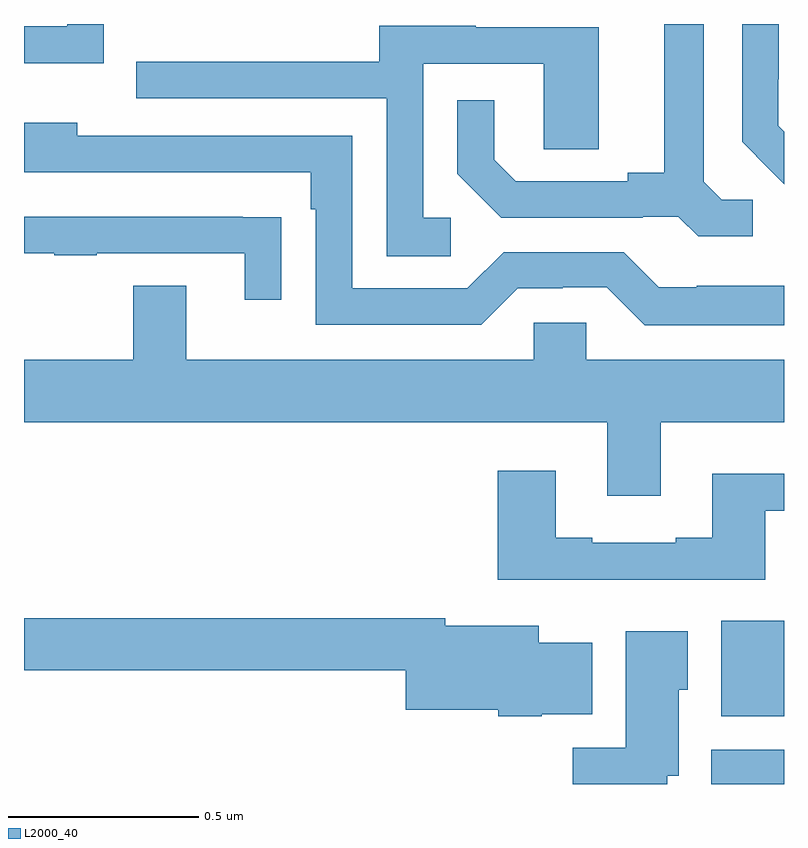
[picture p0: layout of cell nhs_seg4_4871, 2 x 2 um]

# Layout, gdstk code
import gdstk
lib = gdstk.Library(unit=1e-6, precision=1e-09)
def R(c, l, rs):  # rectangles x0, y0, x1, y1
    for r in rs: c.add(gdstk.rectangle(r[:2], r[2:], *l))
def P(c, l, *ps):  # polygons
    for p in ps: c.add(gdstk.Polygon(p, *l))
L2000_40 = (2000, 40)

nhs_seg4_4871 = lib.new_cell('nhs_seg4_4871')
R(nhs_seg4_4871, L2000_40, [(172.808,763.9,173,763.99), (172.835,764.078,173,764.329)])
P(nhs_seg4_4871, L2000_40, [(173,765.617),(172.985,765.632),(172.985,765.754),(172.986,765.754),(172.986,765.9),(172.89,765.9),(172.89,765.59),(172.963,765.517),(172.962,765.516),(173,765.478)],
  [(172.918,765.438),(172.836,765.438),(172.789,765.485),(172.789,765.9),(172.685,765.9),(172.685,765.509),(172.589,765.509),(172.589,765.486),(172.294,765.486),(172.237,765.543),(172.237,765.7),(172.14,765.7),(172.14,765.506),(172.256,765.39),(172.628,765.39),(172.628,765.393),(172.722,765.393),(172.774,765.341),(172.918,765.341)],
  [(171.21,765.9),(171.114,765.9),(171.114,765.894),(171,765.894),(171,765.797),(171.21,765.797)],
  [(172.123,765.39),(172.05,765.39),(172.05,765.795),(172.368,765.795),(172.368,765.571),(172.513,765.571),(172.513,765.891),(172.189,765.891),(172.189,765.895),(171.935,765.895),(171.935,765.801),(171.295,765.801),(171.295,765.705),(171.954,765.705),(171.954,765.289),(172.123,765.289)],
  [(173,765.211),(172.771,765.211),(172.771,765.207),(172.671,765.207),(172.578,765.3),(172.263,765.3),(172.167,765.204),(171.864,765.204),(171.864,765.606),(171.14,765.606),(171.14,765.64),(171,765.64),(171,765.51),(171.755,765.51),(171.755,765.413),(171.768,765.413),(171.768,765.108),(172.203,765.108),(172.299,765.204),(172.418,765.204),(172.418,765.207),(172.533,765.207),(172.633,765.107),(173,765.107)],
  [(171.677,765.392),(171.575,765.392),(171.575,765.393),(171,765.393),(171,765.297),(171.079,765.297),(171.079,765.292),(171.191,765.292),(171.191,765.297),(171.581,765.297),(171.581,765.174),(171.677,765.174)],
  [(172.675,764.852),(173,764.852),(173,765.016),(172.479,765.016),(172.479,765.114),(172.341,765.114),(172.341,765.016),(171.427,765.016),(171.427,765.211),(171.287,765.211),(171.287,765.016),(171,765.016),(171,764.852),(172.535,764.852),(172.535,764.658),(172.675,764.658)],
  [(172.951,764.619),(173,764.619),(173,764.716),(172.811,764.716),(172.811,764.548),(172.715,764.548),(172.715,764.535),(172.495,764.535),(172.495,764.548),(172.399,764.548),(172.399,764.725),(172.247,764.725),(172.247,764.438),(172.951,764.438)],
  [(172.362,764.084),(172.495,764.084),(172.495,764.272),(172.354,764.272),(172.354,764.317),(172.108,764.317),(172.108,764.336),(171,764.336),(171,764.2),(172.004,764.2),(172.004,764.096),(172.248,764.096),(172.248,764.078),(172.362,764.078)],
  [(172.693,763.922),(172.723,763.922),(172.723,764.148),(172.747,764.148),(172.747,764.302),(172.583,764.302),(172.583,763.996),(172.444,763.996),(172.444,763.9),(172.693,763.9)])

lib.write_gds('nhs_seg4_4871.gds')
